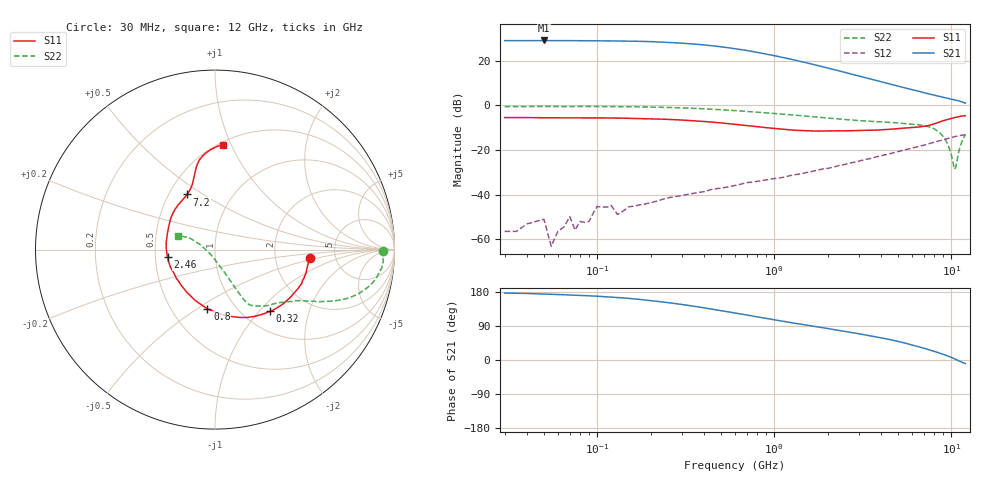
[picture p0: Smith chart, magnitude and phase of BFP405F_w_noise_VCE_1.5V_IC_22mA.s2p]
! Infineon Technologies  Discrete & RF Semiconductors
! BFP405F
! VCE =  1.5 V,  IC =  22 mA
! Common Emitter S-Parameters:  Nov 2015
# GHz  S  MA  R  50
!  f  S11  S21  S12  S22
! GHz  MAG  ANG  MAG  ANG  MAG  ANG  MAG  ANG
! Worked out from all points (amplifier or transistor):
!   239 points, 30 MHz to 12 GHz, reference 50 ohm
!   highest |S21| = 29.0 dB at 50 MHz (marker M1)
!   |S21| within 3 dB of that: start of sweep to 519.3 MHz
!   unconditionally stable (mu >= 1): 52.8 MHz to 76.89 MHz; 1.207 GHz to end of sweep
!   at 300 MHz: K = 0.40, MSG = 34.1 dB, |S12| = -40.4 dB
!   at 1.88 GHz: K = 1.23, MAG = 20.0 dB, |S12| = -28.5 dB
!   at 12 GHz: K = 1.47, MAG = 3.0 dB, |S12| = -13.1 dB
!   lowest NFmin = 2.34 dB at 450 MHz
!   S11 on the Smith chart (normalised r, x): 30 MHz: 3.20, -0.41; 320 MHz: 1.31, -1.15; 800 MHz: 0.74, -0.55; 2.46 GHz: 0.58, -0.05; 7.2 GHz: 0.62, +0.43; 12 GHz: 0.53, +0.93
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0.03  0.5305 -5.0  28.03 176.6  0.0015 148.0  0.9333 -0.5
0.05  0.5243 -8.7  28.31 174.0  0.0028 81.0  0.9432 -1.8
0.055  0.5241 -9.2  28.2 173.5  0.0007 74.2  0.9394 -2.0
0.07  0.5236 -11.1  28.06 171.4  0.0032 -17.1  0.9343 -2.6
0.075  0.5234 -12.0  27.98 170.9  0.0016 29.2  0.9369 -3.1
0.085  0.5234 -13.8  27.93 169.9  0.0024 83.6  0.9396 -3.8
0.1  0.5208 -16.4  27.79 168.3  0.0054 72.3  0.9378 -4.9
0.15  0.5121 -24.6  27.38 162.7  0.0053 91.8  0.929 -7.3
0.2  0.4978 -31.9  26.7 156.6  0.0065 84.0  0.9128 -9.9
0.24  0.4871 -37.6  25.82 152.6  0.0081 79.0  0.8995 -11.6
0.32  0.4603 -48.4  24.22 144.7  0.01 76.4  0.867 -14.6
0.45  0.4193 -64.3  21.47 133.8  0.0133 68.7  0.8152 -18.4
0.6  0.3753 -80.1  18.51 123.9  0.016 69.5  0.7604 -21.5
0.8  0.3331 -97.3  15.33 113.7  0.0197 67.3  0.7006 -24.2
1.18  0.2855 -122.6  11.25 100.4  0.0257 66.7  0.621 -27.6
1.64  0.2668 -145.0  8.313 89.6  0.0332 66.3  0.5571 -30.7
2.46  0.2676 -171.0  5.553 76.1  0.0465 67.0  0.4834 -37.3
4.5  0.2904 151.9  2.982 53.8  0.0824 61.1  0.4157 -49.2
7.2  0.3443 116.8  1.865 29.3  0.1324 49.5  0.3416 -59.1
9.2  0.4633 103.3  1.483 13.4  0.173 39.4  0.1741 -64.7
10.4  0.5284 97.2  1.332 3.3  0.1981 31.9  0.0373 -123.1
12  0.5848 85.5  1.118 -9.3  0.2204 22.6  0.2208 159.5
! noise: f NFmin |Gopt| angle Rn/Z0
0.45  2.34  0.01  -136  0.48
0.9  2.36  0.03  -135  0.34
1.5  2.42  0.05  -131  0.37
1.9  2.49  0.07  -128  0.44
2.4  2.64  0.08  -126  0.18
3  2.75  0.1  -123  0.2
3.5  2.84  0.11  -120  0.29
4.5  3.11  0.16  -106  0.54
5.5  3.47  0.29  -88  0.55
